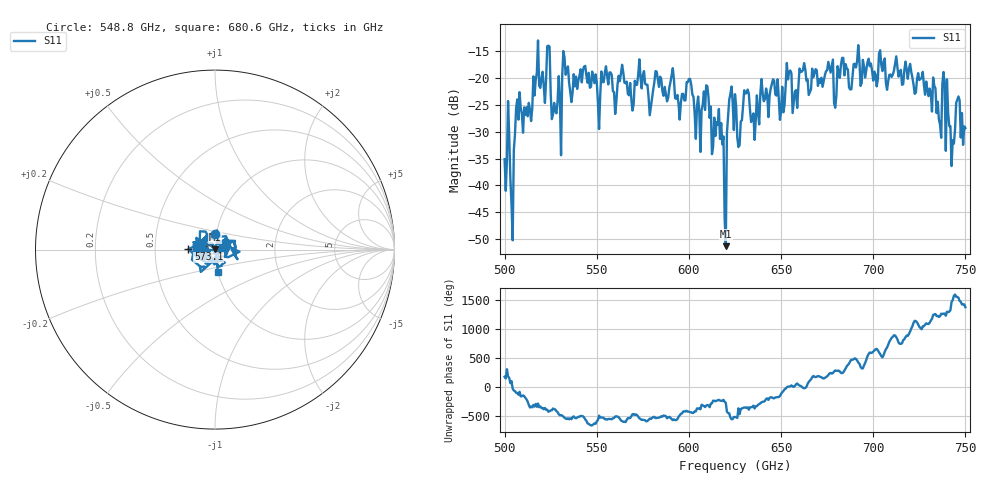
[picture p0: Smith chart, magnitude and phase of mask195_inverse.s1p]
!Created with skrf (http://scikit-rf.org).
# GHz S MA R 50.0
!freq magS11 angS11
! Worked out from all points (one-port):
!   401 points, 500 GHz to 750 GHz, reference 50 ohm
!   lowest |S11| = -51.3 dB at 620 GHz (marker M1), VSWR 1.01, Z = 50 + j0.272 ohm
!   |S11| at or under -10 dB: start of sweep to end of sweep
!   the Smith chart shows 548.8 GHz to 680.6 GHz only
!   S11 on the Smith chart (normalised r, x): 548.8 GHz: 0.99, +0.18; 573.1 GHz: 0.74, +0.00; 680.6 GHz: 1.00, -0.26
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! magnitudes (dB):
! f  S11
! 500 GHz  -35.1
! 504.4 GHz  -50.2
! 506.9 GHz  -24.0
! 513.8 GHz  -25.9
! 516.9 GHz  -20.4
! 523.8 GHz  -14.0
! 526.9 GHz  -24.7
! 531.2 GHz  -19.7
! 533.1 GHz  -19.4
! 548.8 GHz  -21.0
! 562.5 GHz  -20.6
! 573.1 GHz  -16.6
! 593.8 GHz  -23.2
! 600 GHz  -20.2
! 605 GHz  -23.5
! 609.4 GHz  -21.4
! 620 GHz  -51.3
! 621.9 GHz  -24.0
! 625 GHz  -23.0
! 656.2 GHz  -26.6
! 680.6 GHz  -17.8
! 687.5 GHz  -22.2
! 718.8 GHz  -20.2
! 735.6 GHz  -27.7
! 738.8 GHz  -21.5
! 742.5 GHz  -36.4
! 745.6 GHz  -24.1
! 750 GHz  -29.3
